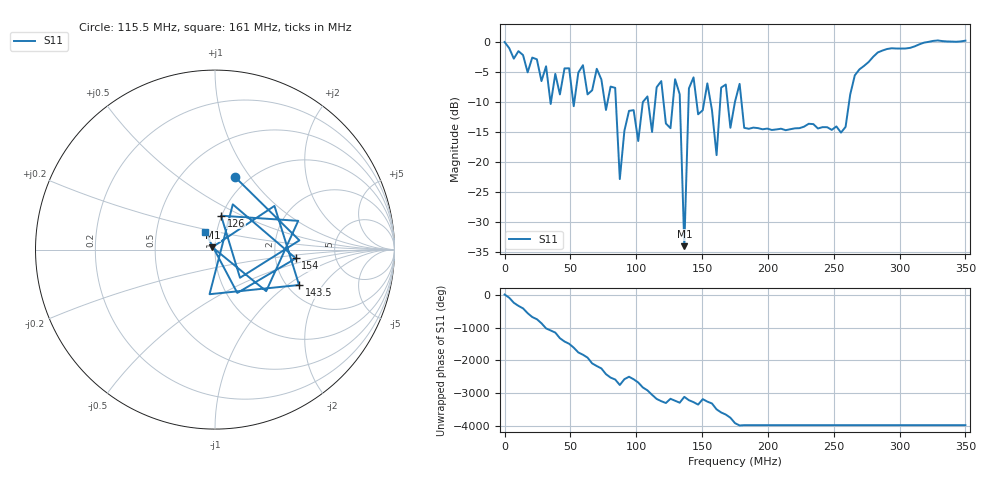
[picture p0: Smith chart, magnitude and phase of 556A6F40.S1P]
!File created by NanoVNA
# Hz S RI R 50
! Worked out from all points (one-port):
!   101 points, 50 kHz to 350 MHz, reference 50 ohm
!   lowest |S11| = -34.0 dB at 136.5 MHz (marker M1), VSWR 1.04, Z = 48.5 + j1.3 ohm
!   |S11| at or under -10 dB: 84.59 MHz to 105 MHz (20.44 MHz wide, 21.6 % of centre); 120.8 MHz to 127.9 MHz (7.127 MHz wide, 5.73 % of centre); 180 MHz to 261.7 MHz (81.71 MHz wide, 37 % of centre) (the widest 3 of 11)
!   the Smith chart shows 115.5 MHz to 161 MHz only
!   S11 on the Smith chart (normalised r, x): 115.5 MHz: 0.86, +0.85; 126 MHz: 0.99, +0.39; 143.5 MHz: 2.31, -1.23; 154 MHz: 2.61, -0.32; 161 MHz: 0.88, +0.18
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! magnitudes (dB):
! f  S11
! 50 kHz  0.0
! 31.55 MHz  -4.0
! 35.05 MHz  -10.3
! 45.54 MHz  -4.4
! 52.54 MHz  -10.7
! 59.54 MHz  -3.9
! 84.04 MHz  -7.6
! 87.54 MHz  -22.8
! 94.54 MHz  -11.5
! 108.5 MHz  -9.1
! 112 MHz  -15.0
! 115.5 MHz  -7.5
! 126 MHz  -14.3
! 129.5 MHz  -6.2
! 133 MHz  -8.7
! 136.5 MHz  -34.0
! 140 MHz  -7.7
! 143.5 MHz  -5.9
! 147 MHz  -12.0
! 154 MHz  -6.9
! 161 MHz  -18.8
! 164.5 MHz  -7.6
! 175 MHz  -9.9
! 220.5 MHz  -14.4
! 255.5 MHz  -15.1
! 262.5 MHz  -8.7
! 308 MHz  -1.0
! 350 MHz  0.2
